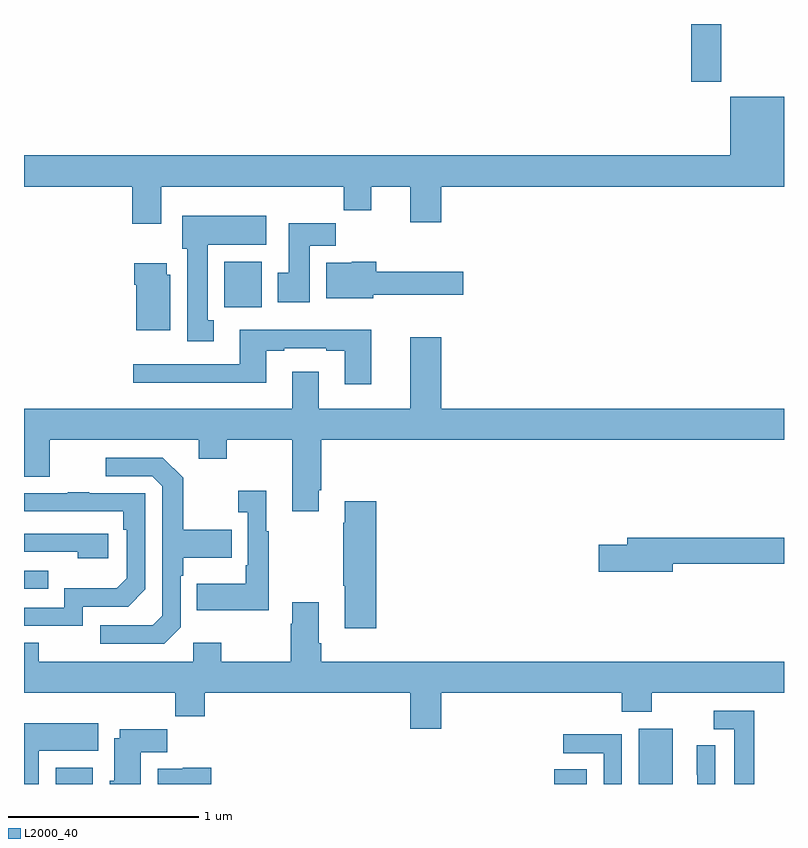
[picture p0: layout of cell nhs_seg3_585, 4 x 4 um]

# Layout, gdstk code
import gdstk
lib = gdstk.Library(unit=1e-6, precision=1e-09)
def R(c, l, rs):  # rectangles x0, y0, x1, y1
    for r in rs: c.add(gdstk.rectangle(r[:2], r[2:], *l))
def P(c, l, *ps):  # polygons
    for p in ps: c.add(gdstk.Polygon(p, *l))
L2000_40 = (2000, 40)

nhs_seg3_585 = lib.new_cell('nhs_seg3_585')
R(nhs_seg3_585, L2000_40, [(139.166,736.4,139.363,736.486), (141.791,736.4,141.961,736.478), (142.235,736.4,142.414,736.69), (139,737.427,139.127,737.523), (140.054,738.908,140.251,739.15), (142.511,740.097,142.671,740.4)])
P(nhs_seg3_585, L2000_40, [(139.723,739.544),(140.683,739.544),(140.683,739.42),(140.827,739.42),(140.827,739.544),(141.032,739.544),(141.032,739.356),(141.196,739.356),(141.196,739.544),(143,739.544),(143,740.017),(142.718,740.017),(142.718,739.708),(139,739.708),(139,739.544),(139.571,739.544),(139.571,739.35),(139.723,739.35)],
  [(139.999,738.842),(139.966,738.842),(139.966,739.238),(140.275,739.238),(140.275,739.39),(139.832,739.39),(139.832,739.218),(139.859,739.218),(139.859,738.729),(139.999,738.729)],
  [(140.503,739.232),(140.642,739.232),(140.642,739.351),(140.393,739.351),(140.393,739.092),(140.336,739.092),(140.336,738.936),(140.503,738.936)],
  [(140.838,738.974),(141.313,738.974),(141.313,739.096),(140.855,739.096),(140.855,739.15),(140.724,739.15),(140.724,739.144),(140.591,739.144),(140.591,738.956),(140.838,738.956)],
  [(139.771,739.08),(139.75,739.08),(139.75,739.141),(139.58,739.141),(139.58,739.028),(139.592,739.028),(139.592,738.788),(139.771,738.788)],
  [(140.827,738.79),(140.135,738.79),(140.135,738.609),(139.575,738.609),(139.575,738.512),(140.275,738.512),(140.275,738.681),(140.371,738.681),(140.371,738.693),(140.591,738.693),(140.591,738.681),(140.687,738.681),(140.687,738.504),(140.827,738.504)],
  [(140.411,738.571),(140.411,738.376),(139,738.376),(139,738.018),(139.135,738.018),(139.135,738.212),(139.919,738.212),(139.919,738.113),(140.067,738.113),(140.067,738.212),(140.411,738.212),(140.411,737.835),(140.551,737.835),(140.551,737.947),(140.564,737.947),(140.564,738.212),(143,738.212),(143,738.376),(141.196,738.376),(141.196,738.751),(141.032,738.751),(141.032,738.376),(140.551,738.376),(140.551,738.571)],
  [(139.824,737.226),(139.824,737.495),(139.837,737.495),(139.837,737.591),(140.093,737.591),(140.093,737.739),(139.837,737.739),(139.837,738.011),(139.731,738.117),(139.431,738.117),(139.431,738.021),(139.674,738.021),(139.728,737.967),(139.728,737.286),(139.677,737.235),(139.401,737.235),(139.401,737.139),(139.737,737.139)],
  [(140.287,737.731),(140.275,737.731),(140.275,737.944),(140.127,737.944),(140.127,737.831),(140.178,737.831),(140.178,737.551),(140.166,737.551),(140.166,737.455),(139.909,737.455),(139.909,737.315),(140.287,737.315)],
  [(139.308,737.334),(139.548,737.334),(139.638,737.424),(139.638,737.931),(139.343,737.931),(139.343,737.936),(139.231,737.936),(139.231,737.931),(139,737.931),(139,737.835),(139.522,737.835),(139.522,737.738),(139.542,737.738),(139.542,737.484),(139.489,737.431),(139.212,737.431),(139.212,737.328),(139,737.328),(139,737.232),(139.308,737.232)],
  [(140.855,737.887),(140.687,737.887),(140.687,737.774),(140.68,737.774),(140.68,737.443),(140.687,737.443),(140.687,737.22),(140.855,737.22)],
  [(139.444,737.718),(139,737.718),(139,737.622),(139.283,737.622),(139.283,737.588),(139.444,737.588)],
  [(142.414,737.56),(143,737.56),(143,737.696),(142.175,737.696),(142.175,737.66),(142.026,737.66),(142.026,737.518),(142.414,737.518)],
  [(141.196,736.88),(142.145,736.88),(142.145,736.781),(142.305,736.781),(142.305,736.88),(143,736.88),(143,737.044),(140.564,737.044),(140.564,737.14),(140.551,737.14),(140.551,737.356),(140.411,737.356),(140.411,737.243),(140.404,737.243),(140.404,737.044),(140.037,737.044),(140.037,737.143),(139.89,737.143),(139.89,737.044),(139.077,737.044),(139.077,737.143),(139,737.143),(139,736.88),(139.795,736.88),(139.795,736.756),(139.952,736.756),(139.952,736.88),(141.032,736.88),(141.032,736.692),(141.196,736.692)],
  [(142.843,736.785),(142.629,736.785),(142.629,736.689),(142.739,736.689),(142.739,736.4),(142.843,736.4)],
  [(139.078,736.574),(139.39,736.574),(139.39,736.72),(139,736.72),(139,736.4),(139.078,736.4)],
  [(139.615,736.568),(139.754,736.568),(139.754,736.687),(139.505,736.687),(139.505,736.642),(139.475,736.642),(139.475,736.416),(139.451,736.416),(139.451,736.4),(139.615,736.4)],
  [(142.146,736.662),(141.837,736.662),(141.837,736.563),(142.05,736.563),(142.05,736.4),(142.146,736.4)],
  [(142.638,736.604),(142.542,736.604),(142.542,736.45),(142.544,736.45),(142.544,736.4),(142.638,736.4)],
  [(139.985,736.486),(139.836,736.486),(139.836,736.48),(139.703,736.48),(139.703,736.4),(139.985,736.4)])

lib.write_gds('nhs_seg3_585.gds')
